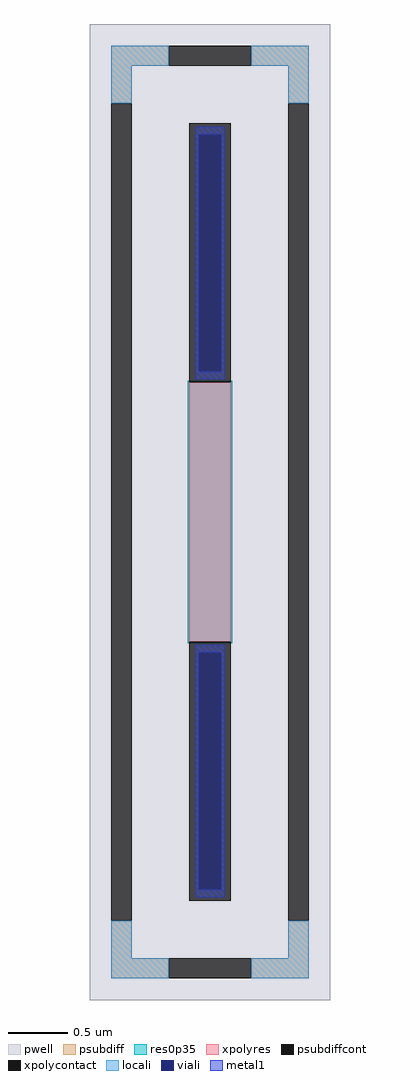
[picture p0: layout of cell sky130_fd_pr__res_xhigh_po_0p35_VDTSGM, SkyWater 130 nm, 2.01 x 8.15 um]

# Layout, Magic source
magic
tech sky130A
magscale 1 2
<< pwell >>
rect -201 -815 201 815
<< psubdiff >>
rect -165 745 -69 779
rect 69 745 165 779
rect -165 683 -131 745
rect 131 683 165 745
rect -165 -745 -131 -683
rect 131 -745 165 -683
rect -165 -779 -69 -745
rect 69 -779 165 -745
<< psubdiffcont >>
rect -69 745 69 779
rect -165 -683 -131 683
rect 131 -683 165 683
rect -69 -779 69 -745
<< xpolycontact >>
rect -35 217 35 649
rect -35 -649 35 -217
<< xpolyres >>
rect -35 -217 35 217
<< locali >>
rect -165 745 -69 779
rect 69 745 165 779
rect -165 683 -131 745
rect 131 683 165 745
rect -165 -745 -131 -683
rect 131 -745 165 -683
rect -165 -779 -69 -745
rect 69 -779 165 -745
<< viali >>
rect -19 234 19 631
rect -19 -631 19 -234
<< metal1 >>
rect -25 631 25 643
rect -25 234 -19 631
rect 19 234 25 631
rect -25 222 25 234
rect -25 -234 25 -222
rect -25 -631 -19 -234
rect 19 -631 25 -234
rect -25 -643 25 -631
<< res0p35 >>
rect -37 -219 37 219
<< properties >>
string FIXED_BBOX -148 -762 148 762
string gencell sky130_fd_pr__res_xhigh_po_0p35
string library sky130
string parameters w 0.350 l 2.17 m 1 nx 1 wmin 0.350 lmin 0.50 rho 2000 val 13.475k dummy 0 dw 0.0 term 188.2 sterm 0.0 caplen 0 wmax 0.350 guard 1 glc 1 grc 1 gtc 1 gbc 1 compatible {sky130_fd_pr__res_xhigh_po_0p35  sky130_fd_pr__res_xhigh_po_0p69 sky130_fd_pr__res_xhigh_po_1p41  sky130_fd_pr__res_xhigh_po_2p85 sky130_fd_pr__res_xhigh_po_5p73} snake 0 full_metal 1 n_guard 0 hv_guard 0 vias 1 viagb 0 viagt 0 viagl 0 viagr 0
<< end >>
